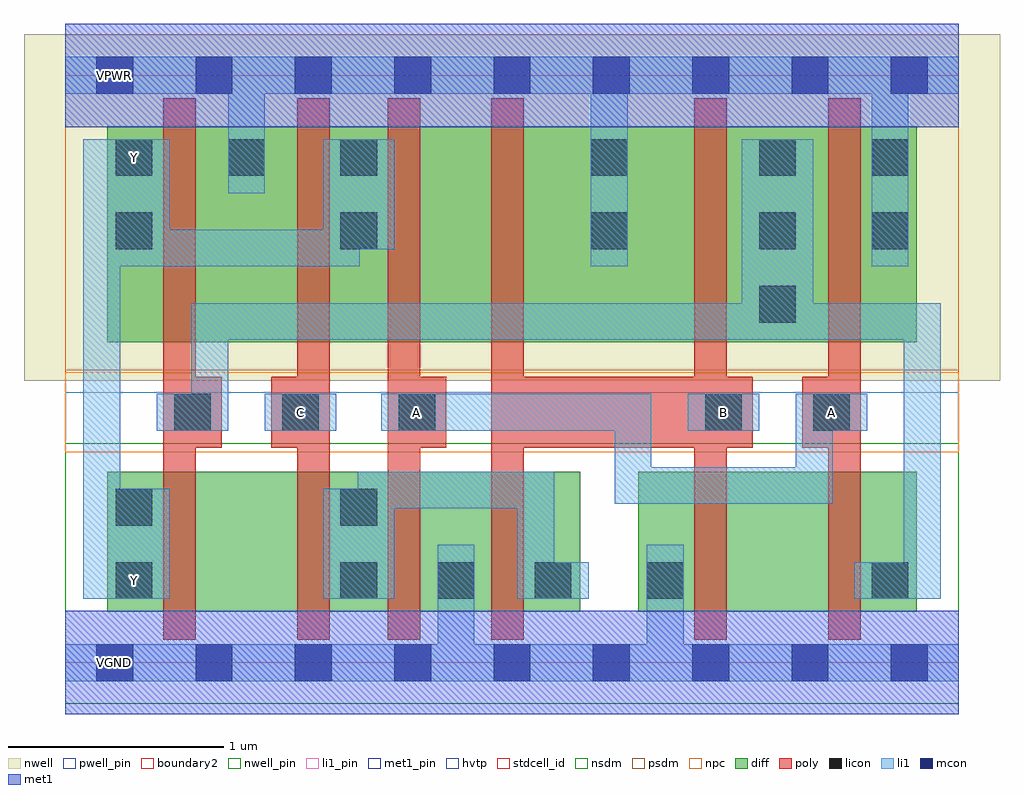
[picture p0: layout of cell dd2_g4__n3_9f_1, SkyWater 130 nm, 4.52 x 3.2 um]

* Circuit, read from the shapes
.subckt dd2_g4__n3_9f_1 A B C VGND VNB VPB VPWR Y
XM1 n1 n2 Y VNB sky130_fd_pr__nfet_01v8 w=0.65 l=0.15
XM2 n3 C n1 VNB sky130_fd_pr__nfet_01v8 w=0.65 l=0.15
XM3 VGND A n3 VNB sky130_fd_pr__nfet_01v8 w=0.65 l=0.15
XM4 n3 B VGND VNB sky130_fd_pr__nfet_01v8 w=0.65 l=0.15
XM5 n4 B VGND VNB sky130_fd_pr__nfet_01v8 w=0.65 l=0.15
XM6 n2 A n4 VNB sky130_fd_pr__nfet_01v8 w=0.65 l=0.15
XM7 VPWR n2 Y VPB sky130_fd_pr__pfet_01v8_hvt w=1 l=0.15
XM8 Y C VPWR VPB sky130_fd_pr__pfet_01v8_hvt w=1 l=0.15
XM9 n5 A Y VPB sky130_fd_pr__pfet_01v8_hvt w=1 l=0.15
XM10 VPWR B n5 VPB sky130_fd_pr__pfet_01v8_hvt w=1 l=0.15
XM11 n2 B VPWR VPB sky130_fd_pr__pfet_01v8_hvt w=1 l=0.15
XM12 VPWR A n2 VPB sky130_fd_pr__pfet_01v8_hvt w=1 l=0.15
.ends

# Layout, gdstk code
import gdstk
lib = gdstk.Library(unit=1e-6, precision=1e-09)
def R(c, l, rs):  # rectangles x0, y0, x1, y1
    for r in rs: c.add(gdstk.rectangle(r[:2], r[2:], *l))
def A(c, l, x, y, w, h, nx, ny, dx, dy):  # array of equal rectangles
    R(c, l, [(x+i*dx, y+j*dy, x+i*dx+w, y+j*dy+h) for i in range(nx) for j in range(ny)])
nwell_pin = (64, 16)
nwell = (64, 20)
diff = (65, 20)
poly = (66, 20)
licon = (66, 44)
li1_pin = (67, 16)
li1 = (67, 20)
mcon = (67, 44)
met1_pin = (68, 16)
met1 = (68, 20)
hvtp = (78, 44)
stdcell_id = (81, 4)
nsdm = (93, 44)
psdm = (94, 20)
npc = (95, 20)
pwell_pin = (122, 16)
boundary2 = (236, 0)

dd2_g4__n3_9f_1 = lib.new_cell('dd2_g4__n3_9f_1')
R(dd2_g4__n3_9f_1, nwell_pin, [(0.145,2.635,0.315,2.805)])
R(dd2_g4__n3_9f_1, nwell, [(-0.19,1.305,4.33,2.91)])
R(dd2_g4__n3_9f_1, diff, [(0.195,0.235,0.84,0.885), (0.84,0.235,1.36,0.885), (1.36,0.235,1.81,0.885), (1.81,0.235,2.385,0.885), (2.655,0.235,3.3,0.885), (3.3,0.235,3.945,0.885), (0.195,1.485,0.84,2.485), (0.84,1.485,1.36,2.485), (1.36,1.485,1.81,2.485), (1.81,1.485,2.52,2.485), (2.52,1.485,3.3,2.485), (3.3,1.485,3.945,2.485)])
R(dd2_g4__n3_9f_1, poly, [(0.455,0.105,0.605,2.615), (1.075,0.105,1.225,2.615), (1.495,0.105,1.645,2.615), (1.975,0.105,2.125,2.615), (2.915,0.105,3.065,2.615), (3.535,0.105,3.685,2.615), (0.455,0.995,0.725,1.325), (0.955,0.995,1.225,1.325), (1.495,0.995,1.765,1.325), (1.975,0.995,3.065,1.325), (2.915,0.995,3.185,1.325), (3.415,0.995,3.685,1.325)])
A(dd2_g4__n3_9f_1, licon, 1.275, 0.295, 0.17, 0.17, 3, 1, 0.45, 0)
A(dd2_g4__n3_9f_1, licon, 3.215, 1.575, 0.17, 0.17, 1, 3, 0, 0.34)
A(dd2_g4__n3_9f_1, licon, 0.235, 2.255, 0.17, 0.17, 3, 1, 0.52, 0)
R(dd2_g4__n3_9f_1, licon, [(0.235,0.295,0.405,0.465), (2.695,0.295,2.865,0.465), (3.735,0.295,3.905,0.465), (0.235,0.635,0.405,0.805), (1.275,0.635,1.445,0.805), (0.505,1.075,0.675,1.245), (1.005,1.075,1.175,1.245), (1.545,1.075,1.715,1.245), (2.965,1.075,3.135,1.245), (3.465,1.075,3.635,1.245), (0.235,1.915,0.405,2.085), (1.275,1.915,1.445,2.085), (2.435,1.915,2.605,2.085), (3.735,1.915,3.905,2.085), (2.435,2.255,2.605,2.425), (3.735,2.255,3.905,2.425)])
R(dd2_g4__n3_9f_1, li1_pin, [(0.235,0.295,0.405,0.465), (1.005,1.075,1.175,1.245), (1.545,1.075,1.715,1.245), (2.965,1.075,3.135,1.245), (3.465,1.075,3.635,1.245), (0.235,2.255,0.405,2.425)])
R(dd2_g4__n3_9f_1, li1, [(0,-0.085,4.14,0.085), (1.725,-0.085,1.895,0.545), (2.695,-0.085,2.865,0.545), (0.085,0.295,0.325,0.465), (0.085,0.295,0.255,2.425), (0.155,0.295,0.485,0.465), (0.155,0.295,0.485,0.805), (1.195,0.295,1.525,0.465), (1.195,0.295,1.525,0.805), (1.355,0.295,1.525,0.885), (2.095,0.295,2.425,0.465), (2.095,0.295,2.265,0.885), (3.655,0.295,3.985,0.465), (3.815,0.295,4.055,0.465), (3.885,0.295,4.055,1.665), (1.355,0.715,2.265,0.885), (2.545,0.735,2.715,1.245), (2.545,0.735,3.555,0.905), (3.385,0.735,3.555,1.245), (0.425,1.075,0.755,1.245), (0.585,1.075,0.755,1.665), (0.925,1.075,1.255,1.245), (1.465,1.075,1.795,1.245), (1.625,1.075,2.715,1.245), (2.885,1.075,3.215,1.245), (3.385,1.075,3.715,1.245), (0.585,1.495,3.305,1.665), (3.135,1.495,3.305,2.425), (3.135,1.495,4.055,1.665), (3.135,1.575,3.465,2.085), (0.085,1.835,1.365,2.005), (1.195,1.835,1.365,2.425), (2.435,1.835,2.605,2.425), (3.735,1.835,3.905,2.425), (0.155,1.915,0.485,2.425), (1.195,1.915,1.525,2.425), (3.135,1.915,3.465,2.425), (0.755,2.175,0.925,2.805), (2.435,2.175,2.605,2.805), (3.735,2.175,3.905,2.805), (0.085,2.255,0.325,2.425), (0.155,2.255,0.485,2.425), (1.195,2.255,1.525,2.425), (3.135,2.255,3.465,2.425), (0,2.635,4.14,2.805)])
A(dd2_g4__n3_9f_1, mcon, 0.145, -0.085, 0.17, 0.17, 9, 2, 0.46, 2.72)
R(dd2_g4__n3_9f_1, met1_pin, [(0.145,-0.085,0.315,0.085), (0.145,2.635,0.315,2.805)])
R(dd2_g4__n3_9f_1, met1, [(0,-0.24,4.14,0.24), (0,2.48,4.14,2.96)])
R(dd2_g4__n3_9f_1, hvtp, [(0,1.25,4.14,2.72)])
R(dd2_g4__n3_9f_1, stdcell_id, [(0,0,4.14,2.72)])
R(dd2_g4__n3_9f_1, nsdm, [(0,-0.19,4.14,1.015)])
R(dd2_g4__n3_9f_1, psdm, [(0,1.355,4.14,2.91)])
R(dd2_g4__n3_9f_1, npc, [(0,0.975,4.14,1.345)])
R(dd2_g4__n3_9f_1, pwell_pin, [(0.145,-0.085,0.315,0.085)])
R(dd2_g4__n3_9f_1, boundary2, [(0,0,4.14,2.72)])
dd2_g4__n3_9f_1.add(gdstk.Label('A', (1.63,1.16), layer=67, texttype=5))
dd2_g4__n3_9f_1.add(gdstk.Label('A', (3.55,1.16), layer=67, texttype=5))
dd2_g4__n3_9f_1.add(gdstk.Label('B', (3.05,1.16), layer=67, texttype=5))
dd2_g4__n3_9f_1.add(gdstk.Label('C', (1.09,1.16), layer=67, texttype=5))
dd2_g4__n3_9f_1.add(gdstk.Label('Y', (0.32,0.38), layer=67, texttype=5))
dd2_g4__n3_9f_1.add(gdstk.Label('Y', (0.32,2.34), layer=67, texttype=5))
dd2_g4__n3_9f_1.add(gdstk.Label('VGND', (0.23,0), layer=68, texttype=5))
dd2_g4__n3_9f_1.add(gdstk.Label('VPWR', (0.23,2.72), layer=68, texttype=5))
dd2_g4__n3_9f_1.add(gdstk.Label('VPB', (0.23,2.72), layer=64, texttype=5))
dd2_g4__n3_9f_1.add(gdstk.Label('VNB', (0.23,0), layer=64, texttype=59))

lib.write_gds('dd2_g4__n3_9f_1.gds')
